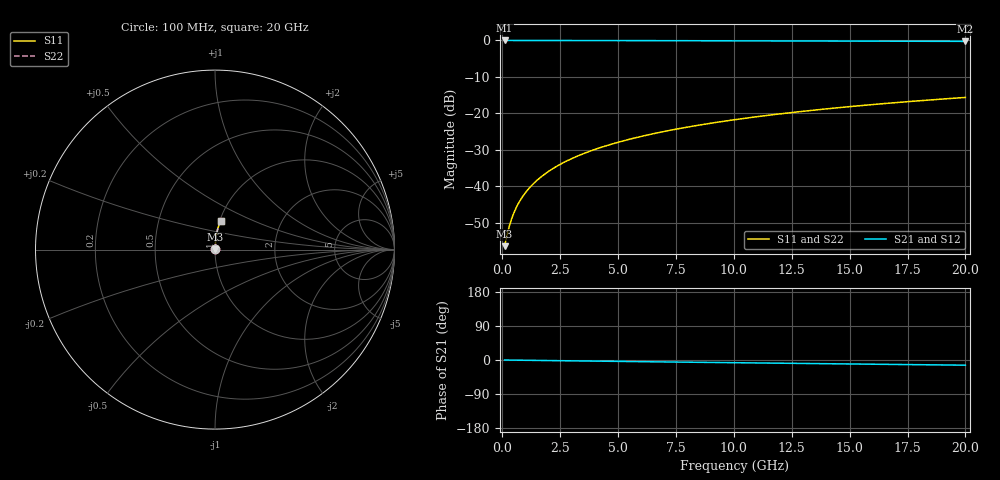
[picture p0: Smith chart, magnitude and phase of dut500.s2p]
! Touchstone file exported from HFSS 2024.1.0
!  File:  C:/UserFiles/LocalFiles/RDL_TSV_Batchsim/temp_RDL_top_500_1779679035.aedt
!  Generated:  11:19:19 AM May 25, 2026
!  Design:  RDL_top
!  Project:  temp_RDL_top_500_1779679035
!  Setup:  Setup1
!  Solution:  Sweep
! Variables:
!  dtsv = 10.80580581um
!  hbump = 3um
!  htsv = 84.53um
!  ldown = 100um
!  lrdl = 162.05um
!  p = 40
!  p1 = 40.69um
!  rhole = 1um
!  t = 450um
!  tdown = 3.915915916um
!  trdl = 3.63um
!  wdown = 15.38538539um
!  wrdl = 14.77um
# GHz S MA R 50.000000
! Terminal data exported
! Port[1] = Box2_T1
! Port[2] = Box2_T2
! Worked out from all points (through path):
!   200 points, 100 MHz to 20 GHz, reference 50 ohm
!   highest |S21| = -0.01 dB at 100 MHz (marker M1); lowest = -0.3 dB at 20 GHz (marker M2)
!   group delay of S21, straight-line fit = 1.89 ps
!   lowest |S11| = -56.5 dB at 100 MHz (marker M3), VSWR 1.00, Z = 50.1 + j0.0843 ohm
!   |S11| at or under -10 dB: start of sweep to end of sweep
!   |S22| runs from -56.5 to -15.6 dB; largest |S21 - S12| = 4.1e-15
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0.1  0.0015 34.1  0.9988 -0.1  0.9988 -0.1  0.0015 34.1
! Gamma 0 0 0 0
! Port Impedance 50 0 50 0
0.2  0.002098 52.7  0.9987 -0.2  0.9987 -0.2  0.002098 52.7
0.3  0.002805 62.2  0.9987 -0.2  0.9987 -0.2  0.002805 62.2
0.4  0.003545 67.8  0.9986 -0.3  0.9986 -0.3  0.003545 67.8
0.5  0.004298 71.4  0.9986 -0.4  0.9986 -0.4  0.004298 71.4
0.6  0.005057 73.9  0.9986 -0.5  0.9986 -0.5  0.005057 73.9
0.8  0.006588 77.4  0.9985 -0.6  0.9985 -0.6  0.006588 77.4
1.1  0.008908 80.4  0.9984 -0.8  0.9984 -0.8  0.008908 80.4
1.5  0.01203 82.6  0.9982 -1.1  0.9982 -1.1  0.01203 82.6
1.8  0.01439 83.7  0.998 -1.4  0.998 -1.4  0.01439 83.7
2.1  0.01676 84.4  0.9978 -1.6  0.9978 -1.6  0.01676 84.4
2.7  0.02151 85.3  0.9974 -2.0  0.9974 -2.0  0.02151 85.3
3.5  0.0279 85.9  0.9967 -2.6  0.9967 -2.6  0.0279 85.9
4.2  0.03352 86.2  0.996 -3.1  0.996 -3.1  0.03352 86.2
5  0.03999 86.3  0.995 -3.7  0.995 -3.7  0.03999 86.3
5.9  0.04733 86.2  0.9938 -4.3  0.9938 -4.3  0.04733 86.2
6.8  0.05472 86.0  0.9925 -5.0  0.9925 -5.0  0.05472 86.0
8.3  0.06715 85.5  0.9903 -6.0  0.9903 -6.0  0.06715 85.5
10.1  0.0822 84.7  0.9874 -7.2  0.9874 -7.2  0.0822 84.7
13.4  0.11 82.9  0.9818 -9.4  0.9818 -9.4  0.11 82.9
16.7  0.1377 80.8  0.9761 -11.6  0.9761 -11.6  0.1377 80.8
20  0.165 78.6  0.9701 -13.7  0.9701 -13.7  0.165 78.6
